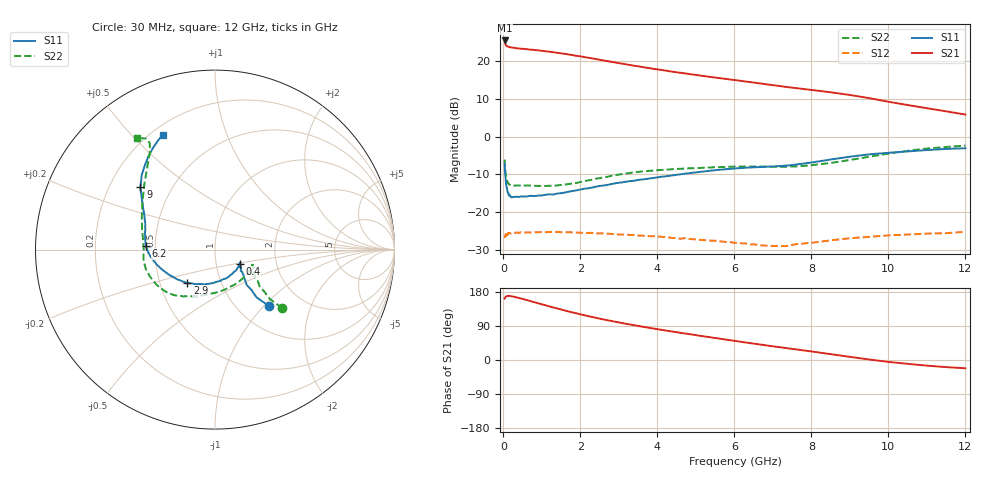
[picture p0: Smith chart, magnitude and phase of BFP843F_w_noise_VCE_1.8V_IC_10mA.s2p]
! Infineon Technologies  Discrete & RF Semiconductors
! BFP843F
! VCE =  1.8 V,  IC =  10 mA
! Common Emitter S-Parameters:  Aug 2013
# GHz  S  MA  R  50
!  f  S11  S21  S12  S22
! GHz  MAG  ANG  MAG  ANG  MAG  ANG  MAG  ANG
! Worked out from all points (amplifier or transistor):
!   103 points, 30 MHz to 12 GHz, reference 50 ohm
!   highest |S21| = 25.4 dB at 30 MHz (marker M1)
!   |S21| within 3 dB of that: start of sweep to 1.207 GHz
!   unconditionally stable (mu >= 1): 175.1 MHz to 1.136 GHz; 1.85 GHz to end of sweep
!   at 400 MHz: K = 1.01, MAG = 23.8 dB, |S12| = -25.5 dB
!   at 3.7 GHz: K = 1.13, MAG = 20.1 dB, |S12| = -26.3 dB
!   at 12 GHz: K = 1.32, MAG = 12.1 dB, |S12| = -25.2 dB
!   lowest NFmin = 0.79 dB at 450 MHz
!   S11 on the Smith chart (normalised r, x): 30 MHz: 1.38, -1.07; 400 MHz: 1.30, -0.21; 2.9 GHz: 0.69, -0.27; 6.2 GHz: 0.45, +0.02; 9 GHz: 0.33, +0.33; 12 GHz: 0.25, +0.61
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0.03  0.4363 -46.2  18.68 162.1  0.0454 31.7  0.4969 -41.0
0.04  0.3523 -49.0  17.48 163.3  0.0483 22.0  0.4117 -42.0
0.05  0.3032 -47.9  16.67 166.0  0.0489 18.2  0.3565 -40.3
0.06  0.2649 -48.1  16.36 167.0  0.0515 17.1  0.3227 -39.6
0.07  0.2354 -45.1  15.98 167.7  0.0482 16.6  0.2963 -36.3
0.13  0.178 -34.6  15.37 169.3  0.0524 8.4  0.2383 -27.2
0.4  0.1584 -29.8  14.64 163.7  0.0531 2.4  0.2244 -24.4
0.9  0.1652 -54.4  13.81 149.7  0.0543 0.0  0.2225 -46.5
1.3  0.1714 -75.3  13.04 138.5  0.0548 -1.7  0.223 -66.5
1.7  0.1868 -93.4  12.17 127.9  0.0543 -3.2  0.2354 -84.8
2.1  0.204 -108.4  11.26 118.1  0.053 -5.2  0.2554 -101.2
2.9  0.2409 -129.5  9.566 101.0  0.0512 -7.4  0.3069 -122.2
3.5  0.2672 -141.3  8.493 89.9  0.049 -8.7  0.3413 -132.1
4.1  0.294 -152.1  7.602 79.7  0.0473 -8.8  0.3612 -140.2
5.1  0.3401 -167.7  6.431 64.0  0.0431 -8.3  0.3838 -152.9
6.1  0.382 178.6  5.516 49.1  0.0393 -5.4  0.4003 -165.9
6.2  0.3834 176.9  5.425 47.6  0.0386 -4.9  0.4006 -167.3
7.1  0.405 163.3  4.714 34.7  0.0358 4.3  0.3975 -179.6
8.5  0.4971 145.1  3.853 15.4  0.0424 16.2  0.4475 155.7
9  0.5415 140.1  3.548 8.3  0.0452 16.5  0.4899 145.4
10.5  0.6362 125.9  2.612 -10.1  0.0506 17.6  0.648 124.1
12  0.7011 114.6  1.956 -21.8  0.055 21.0  0.7594 124.9
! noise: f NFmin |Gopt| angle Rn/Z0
0.45  0.79  0.04  18  0.02
0.9  0.8  0.04  35  0.03
1.5  0.85  0.05  55  0.04
1.9  0.89  0.05  77  0.04
2.4  0.93  0.06  96  0.05
3.5  0.99  0.08  129  0.1
5.5  1.09  0.16  -176  0.17
10  1.66  0.36  -114  0.28
